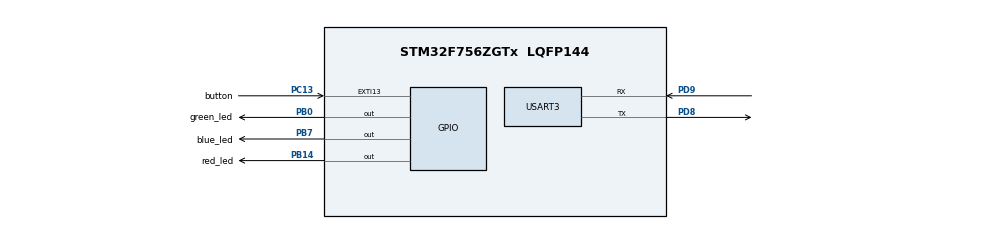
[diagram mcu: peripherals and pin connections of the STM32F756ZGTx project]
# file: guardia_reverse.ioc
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CORTEX_M7.default_mode_Activation=1
Mcu.Family=STM32F7
Mcu.Name=STM32F756ZGTx
Mcu.Package=LQFP144
NVIC.EXTI15_10_IRQn=true\:0\:0\:false\:false\:true\:true\:true\:true
NVIC.PriorityGroup=NVIC_PRIORITYGROUP_4
NVIC.TIM2_IRQn=true\:0\:0\:false\:false\:true\:true\:true\:true
NVIC.TIM3_IRQn=true\:0\:0\:false\:false\:true\:true\:true\:true
NVIC.TIM4_IRQn=true\:0\:0\:false\:false\:true\:true\:true\:true
NVIC.USART3_IRQn=true\:0\:0\:false\:false\:true\:true\:true\:true
PB0.GPIO_Label=green_led
PB0.Signal=GPIO_Output
PB14.GPIO_Label=red_led
PB14.Signal=GPIO_Output
PB7.GPIO_Label=blue_led
PB7.Signal=GPIO_Output
PC13.GPIO_Label=button
PC13.Signal=GPXTI13
PD8.Mode=Asynchronous
PD8.Signal=USART3_TX
PD9.Mode=Asynchronous
PD9.Signal=USART3_RX
ProjectManager.HeapSize=0x200
ProjectManager.StackSize=0x400
ProjectManager.TargetToolchain=STM32CubeIDE
RCC.HSE_VALUE=25000000
RCC.HSI_VALUE=16000000
RCC.LSE_VALUE=32768
RCC.USBFreq_Value=96000000
RCC.VCOOutputFreq_Value=192000000
TIM2.Period=62499
TIM2.Prescaler=127
TIM3.Period=62499
TIM3.Prescaler=255
TIM4.Period=65216
TIM4.Prescaler=735
USART3.VirtualMode-Asynchronous=VM_ASYNC
VP_TIM2_VS_ClockSourceINT.Mode=Internal
VP_TIM3_VS_ClockSourceINT.Mode=Internal
VP_TIM4_VS_ClockSourceINT.Mode=Internal
board=custom

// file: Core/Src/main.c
/* USER CODE BEGIN Header */
/**
  ******************************************************************************
  * @file           : main.c
  * @brief          : Main program body
  ******************************************************************************
  * @attention
  *
  * Copyright (c) 2025 STMicroelectronics.
  * All rights reserved.
  *
  * This software is licensed under terms that can be found in the LICENSE file
  * in the root directory of this software component.
  * If no LICENSE file comes with this software, it is provided AS-IS.
  *
  ******************************************************************************
  */
/* USER CODE END Header */
#include "main.h"
#include "tim.h"
#include "usart.h"
#include "gpio.h"

/* USER CODE BEGIN Includes */
#include <string.h>
#include <stdlib.h>
/* USER CODE END Includes */

/* USER CODE BEGIN PV */
uint8_t car;
char *buffer;
size_t buffer_idx = 0;
int chenillard;
TIM_HandleTypeDef *timer = &htim2;
int chenillard3State = 0;
int chenillard1State = 0;
uint16_t led = GPIO_PIN_0;
int isChenillardOn = 0;
/* USER CODE END PV */

void SystemClock_Config(void);
static void MPU_Config(void);

/* USER CODE BEGIN 0 */
void chenillard1(void){
    HAL_GPIO_WritePin(GPIOB, GPIO_PIN_0 | GPIO_PIN_7 | GPIO_PIN_14, GPIO_PIN_RESET);
    if (led == GPIO_PIN_0){
    	led = GPIO_PIN_7;
	}
	else if (led == GPIO_PIN_7 && chenillard1State == 0){
		led = GPIO_PIN_14;
		chenillard1State = 1;
	}
	else if (led == GPIO_PIN_7 && chenillard1State == 1){
		led = GPIO_PIN_0;
		chenillard1State = 0;
	}
	else {
		led = GPIO_PIN_7;
	}
	HAL_GPIO_TogglePin(GPIOB, led);
}

void chenillard2(void){
     HAL_GPIO_WritePin(GPIOB, GPIO_PIN_0 | GPIO_PIN_7 | GPIO_PIN_14, GPIO_PIN_RESET);
     if (led == GPIO_PIN_7){
    	 led = GPIO_PIN_0;
     }
	 else {
		 led = GPIO_PIN_7;
	 }
     if (led == GPIO_PIN_0) {
         HAL_GPIO_TogglePin(GPIOB, GPIO_PIN_0);
         HAL_GPIO_TogglePin(GPIOB, GPIO_PIN_14);
     }
     else {
    	 HAL_GPIO_TogglePin(GPIOB, led);
     }
}

void chenillard3(GPIO_PinState state){
    HAL_GPIO_WritePin(GPIOB, GPIO_PIN_0 | GPIO_PIN_7 | GPIO_PIN_14, state);
}

void stopTimers(void){
	  HAL_TIM_Base_Stop_IT(&htim2);
	  HAL_TIM_Base_Stop_IT(&htim3);
	  HAL_TIM_Base_Stop_IT(&htim4);
}
/* USER CODE END 0 */

int main(void)
{

  /* MPU Configuration--------------------------------------------------------*/
  MPU_Config();

  /* MCU Configuration--------------------------------------------------------*/

  /* Reset of all peripherals, Initializes the Flash interface and the Systick. */
  HAL_Init();

  /* Configure the system clock */
  SystemClock_Config();

  /* Initialize all configured peripherals */
  MX_GPIO_Init();
  MX_USART3_UART_Init();
  MX_TIM2_Init();
  MX_TIM3_Init();
  MX_TIM4_Init();
  /* USER CODE BEGIN 2 */
  HAL_UART_Receive_IT(&huart3, &car, 1);
  memset(buffer, 0, 100);
  /* USER CODE END 2 */

  /* Infinite loop */
  while (1)
  {

  }
}

void SystemClock_Config(void)
{
  RCC_OscInitTypeDef RCC_OscInitStruct = {0};
  RCC_ClkInitTypeDef RCC_ClkInitStruct = {0};

  /** Configure the main internal regulator output voltage
  */
  __HAL_RCC_PWR_CLK_ENABLE();
  __HAL_PWR_VOLTAGESCALING_CONFIG(PWR_REGULATOR_VOLTAGE_SCALE3);

  /** Initializes the RCC Oscillators according to the specified parameters
  * in the RCC_OscInitTypeDef structure.
  */
  RCC_OscInitStruct.OscillatorType = RCC_OSCILLATORTYPE_HSI;
  RCC_OscInitStruct.HSIState = RCC_HSI_ON;
  RCC_OscInitStruct.HSICalibrationValue = RCC_HSICALIBRATION_DEFAULT;
  RCC_OscInitStruct.PLL.PLLState = RCC_PLL_NONE;
  if (HAL_RCC_OscConfig(&RCC_OscInitStruct) != HAL_OK)
  {
    Error_Handler();
  }

  /** Initializes the CPU, AHB and APB buses clocks
  */
  RCC_ClkInitStruct.ClockType = RCC_CLOCKTYPE_HCLK|RCC_CLOCKTYPE_SYSCLK
                              |RCC_CLOCKTYPE_PCLK1|RCC_CLOCKTYPE_PCLK2;
  RCC_ClkInitStruct.SYSCLKSource = RCC_SYSCLKSOURCE_HSI;
  RCC_ClkInitStruct.AHBCLKDivider = RCC_SYSCLK_DIV1;
  RCC_ClkInitStruct.APB1CLKDivider = RCC_HCLK_DIV1;
  RCC_ClkInitStruct.APB2CLKDivider = RCC_HCLK_DIV1;

  if (HAL_RCC_ClockConfig(&RCC_ClkInitStruct, FLASH_LATENCY_0) != HAL_OK)
  {
    Error_Handler();
  }
}

/* USER CODE BEGIN 4 */
void HAL_UART_RxCpltCallback(UART_HandleTypeDef *huart){
	if (huart->Instance == USART3){
		if (car == '\0'){
			if(strcmp(buffer, "LED1 ON") == 0 && isChenillardOn == 0){
				HAL_GPIO_WritePin(GPIOB, GPIO_PIN_0, GPIO_PIN_SET);
			}
			else if(strcmp(buffer, "LED1 OFF") == 0 && isChenillardOn == 0){
				HAL_GPIO_WritePin(GPIOB, GPIO_PIN_0, GPIO_PIN_RESET);
			}
			else if(strcmp(buffer, "LED2 ON") == 0 && isChenillardOn == 0){
				HAL_GPIO_WritePin(GPIOB, GPIO_PIN_7, GPIO_PIN_SET);
			}
			else if(strcmp(buffer, "LED2 OFF") == 0 && isChenillardOn == 0){
				HAL_GPIO_WritePin(GPIOB, GPIO_PIN_7, GPIO_PIN_RESET);
			}
			else if(strcmp(buffer, "LED3 ON") == 0 && isChenillardOn == 0){
				HAL_GPIO_WritePin(GPIOB, GPIO_PIN_14, GPIO_PIN_SET);
			}
			else if(strcmp(buffer, "LED3 OFF") == 0 && isChenillardOn == 0){
				HAL_GPIO_WritePin(GPIOB, GPIO_PIN_14, GPIO_PIN_RESET);
			}
			else if(strcmp(buffer, "CHENILLARD1 ON") == 0){
				  chenillard = 1;
				  HAL_TIM_Base_Start_IT(timer);
				  isChenillardOn = 1;
			}
			else if(strcmp(buffer, "CHENILLARD2 ON") == 0){
				  chenillard = 2;
				  HAL_TIM_Base_Start_IT(timer);
				  isChenillardOn = 1;
			}
			else if(strcmp(buffer, "CHENILLARD3 ON") == 0){
				  chenillard = 3;
				  HAL_TIM_Base_Start_IT(timer);
				  isChenillardOn = 1;
			}
			else if(strcmp(buffer, "CHENILLARD1 OFF") == 0 || strcmp(buffer, "CHENILLARD2 OFF") == 0 || strcmp(buffer, "CHENILLARD3 OFF") == 0){
				  HAL_GPIO_WritePin(GPIOB, GPIO_PIN_0 | GPIO_PIN_7 | GPIO_PIN_14, GPIO_PIN_RESET);
				  stopTimers();
				  isChenillardOn = 0;
			}
			else if(strcmp(buffer, "CHENILLARD FREQUENCE1") == 0){
				  stopTimers();
				  timer = &htim2;
				  HAL_TIM_Base_Start_IT(timer);
			}
			else if(strcmp(buffer, "CHENILLARD FREQUENCE2") == 0){
				  stopTimers();
				  timer = &htim3;
				  HAL_TIM_Base_Start_IT(timer);
			}
			else if(strcmp(buffer, "CHENILLARD FREQUENCE3") == 0){
				  stopTimers();
				  timer = &htim4;
				  HAL_TIM_Base_Start_IT(timer);
			}
			memset(buffer, 0, 100);
			buffer_idx = 0;
		}
		else {
			buffer[buffer_idx] = car;
			buffer_idx++;
		}
		HAL_UART_Receive_IT(&huart3, &car, 1);
	}
}

void HAL_TIM_PeriodElapsedCallback(TIM_HandleTypeDef *htim){
	if (htim->Instance == TIM2 || htim->Instance == TIM3 || htim->Instance == TIM4){
		if (chenillard == 1){
			chenillard1();
		}
		else if (chenillard == 2){
			chenillard2();
		}
		else if (chenillard == 3){
			if (chenillard3State == 0){
				chenillard3(GPIO_PIN_RESET);
				chenillard3State = 1;
			}
			else {
				chenillard3(GPIO_PIN_SET);
				chenillard3State = 0;
			}

		}
	}
}
/* USER CODE END 4 */

 /* MPU Configuration */

void MPU_Config(void)
{
  MPU_Region_InitTypeDef MPU_InitStruct = {0};

  /* Disables the MPU */
  HAL_MPU_Disable();

  /** Initializes and configures the Region and the memory to be protected
  */
  MPU_InitStruct.Enable = MPU_REGION_ENABLE;
  MPU_InitStruct.Number = MPU_REGION_NUMBER0;
  MPU_InitStruct.BaseAddress = 0x0;
  MPU_InitStruct.Size = MPU_REGION_SIZE_4GB;
  MPU_InitStruct.SubRegionDisable = 0x87;
  MPU_InitStruct.TypeExtField = MPU_TEX_LEVEL0;
  MPU_InitStruct.AccessPermission = MPU_REGION_NO_ACCESS;
  MPU_InitStruct.DisableExec = MPU_INSTRUCTION_ACCESS_DISABLE;
  MPU_InitStruct.IsShareable = MPU_ACCESS_SHAREABLE;
  MPU_InitStruct.IsCacheable = MPU_ACCESS_NOT_CACHEABLE;
  MPU_InitStruct.IsBufferable = MPU_ACCESS_NOT_BUFFERABLE;

  HAL_MPU_ConfigRegion(&MPU_InitStruct);
  /* Enables the MPU */
  HAL_MPU_Enable(MPU_PRIVILEGED_DEFAULT);

}

void Error_Handler(void)
{
  __disable_irq();
  while (1)
  {
  }
}
